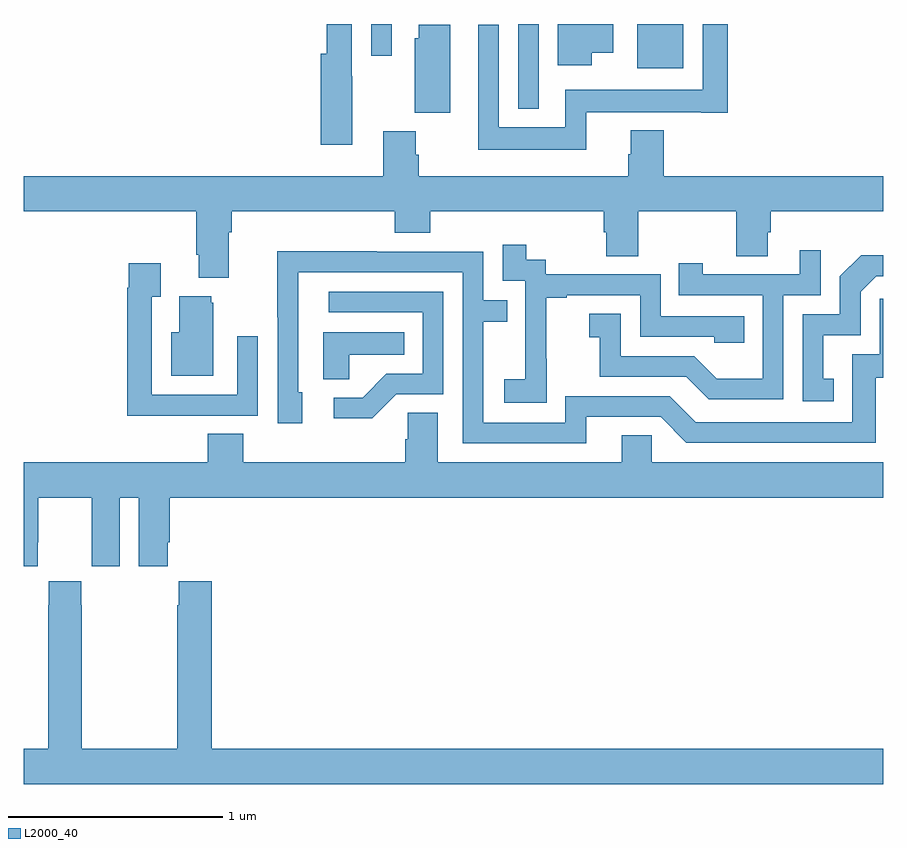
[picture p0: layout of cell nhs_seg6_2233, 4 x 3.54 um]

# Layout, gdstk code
import gdstk
lib = gdstk.Library(unit=1e-6, precision=1e-09)
def R(c, l, rs):  # rectangles x0, y0, x1, y1
    for r in rs: c.add(gdstk.rectangle(r[:2], r[2:], *l))
def P(c, l, *ps):  # polygons
    for p in ps: c.add(gdstk.Polygon(p, *l))
L2000_40 = (2000, 40)

nhs_seg6_2233 = lib.new_cell('nhs_seg6_2233')
R(nhs_seg6_2233, L2000_40, [(245.301,989.105,245.397,989.5), (245.855,989.294,246.07,989.5), (244.617,989.352,244.713,989.5)])
P(nhs_seg6_2233, L2000_40, [(245.618,989.09),(246.152,989.09),(246.152,989.088),(246.275,989.088),(246.275,989.5),(246.159,989.5),(246.159,989.194),(245.52,989.194),(245.52,989.02),(245.211,989.02),(245.211,989.497),(245.114,989.497),(245.114,988.916),(245.618,988.916)],
  [(244.528,989.258),(244.527,989.258),(244.527,989.5),(244.411,989.5),(244.411,989.362),(244.382,989.362),(244.382,988.938),(244.528,988.938)],
  [(245.644,989.366),(245.743,989.366),(245.743,989.5),(245.486,989.5),(245.486,989.307),(245.644,989.307)],
  [(244.984,989.497),(244.838,989.497),(244.838,989.433),(244.82,989.433),(244.82,989.086),(244.984,989.086)],
  [(244.838,988.892),(244.825,988.892),(244.825,989.001),(244.673,989.001),(244.673,988.792),(243,988.792),(243,988.628),(243.803,988.628),(243.803,988.426),(243.815,988.426),(243.815,988.319),(243.955,988.319),(243.955,988.532),(243.968,988.532),(243.968,988.628),(244.727,988.628),(244.727,988.529),(244.892,988.529),(244.892,988.628),(245.699,988.628),(245.699,988.53),(245.711,988.53),(245.711,988.42),(245.859,988.42),(245.859,988.628),(246.316,988.628),(246.316,988.42),(246.463,988.42),(246.463,988.53),(246.476,988.53),(246.476,988.628),(247,988.628),(247,988.792),(245.978,988.792),(245.978,989.005),(245.825,989.005),(245.825,988.893),(245.813,988.893),(245.813,988.792),(244.838,988.792)],
  [(245.433,987.943),(245.432,987.943),(245.432,988.227),(245.527,988.227),(245.527,988.239),(245.868,988.239),(245.868,988.044),(246.213,988.044),(246.213,988.017),(246.353,988.017),(246.353,988.14),(245.964,988.14),(245.964,988.335),(245.43,988.335),(245.43,988.404),(245.338,988.404),(245.338,988.474),(245.229,988.474),(245.229,988.305),(245.334,988.305),(245.334,988.076),(245.333,988.076),(245.333,987.847),(245.235,987.847),(245.235,987.737),(245.433,987.737)],
  [(246.534,988.239),(246.708,988.239),(246.708,988.447),(246.611,988.447),(246.611,988.335),(246.16,988.335),(246.16,988.387),(246.049,988.387),(246.049,988.239),(246.438,988.239),(246.438,987.85),(246.224,987.85),(246.12,987.954),(245.778,987.954),(245.778,988.153),(245.631,988.153),(245.631,988.043),(245.68,988.043),(245.68,987.858),(246.083,987.858),(246.188,987.753),(246.534,987.753)],
  [(245.617,987.672),(245.964,987.672),(246.084,987.552),(246.964,987.552),(246.964,987.855),(247,987.855),(247,988.222),(246.984,988.222),(246.984,987.963),(246.855,987.963),(246.855,987.648),(246.126,987.648),(246.006,987.768),(245.52,987.768),(245.52,987.645),(245.139,987.645),(245.139,988.114),(245.249,988.114),(245.249,988.215),(245.139,988.215),(245.139,988.44),(244.643,988.44),(244.643,988.442),(244.18,988.442),(244.18,988.135),(244.182,988.135),(244.182,987.642),(244.297,987.642),(244.297,987.786),(244.278,987.786),(244.278,988.344),(245.043,988.344),(245.043,987.549),(245.617,987.549)],
  [(246.77,987.849),(246.721,987.849),(246.721,988.053),(246.894,988.053),(246.894,988.254),(246.966,988.326),(247,988.326),(247,988.424),(246.896,988.424),(246.798,988.326),(246.798,988.149),(246.624,988.149),(246.624,987.744),(246.77,987.744)],
  [(243.773,987.678),(244.089,987.678),(244.089,988.048),(243.993,988.048),(243.993,987.774),(243.597,987.774),(243.597,988.231),(243.637,988.231),(243.637,988.387),(243.489,988.387),(243.489,988.274),(243.481,988.274),(243.481,987.677),(243.773,987.677)],
  [(244.734,987.777),(244.953,987.777),(244.953,988.254),(244.419,988.254),(244.419,988.158),(244.857,988.158),(244.857,987.873),(244.688,987.873),(244.577,987.762),(244.443,987.762),(244.443,987.665),(244.621,987.665)],
  [(243.883,988.203),(243.872,988.203),(243.872,988.234),(243.725,988.234),(243.725,988.066),(243.686,988.066),(243.686,987.863),(243.883,987.863)],
  [(244.515,987.962),(244.772,987.962),(244.772,988.066),(244.394,988.066),(244.394,987.847),(244.515,987.847)],
  [(247,987.46),(245.922,987.46),(245.922,987.587),(245.783,987.587),(245.783,987.46),(244.927,987.46),(244.927,987.692),(244.788,987.692),(244.788,987.569),(244.775,987.569),(244.775,987.46),(244.022,987.46),(244.022,987.593),(243.857,987.593),(243.857,987.46),(243,987.46),(243,986.976),(243.066,986.976),(243.066,987.088),(243.067,987.088),(243.067,987.296),(243.317,987.296),(243.317,987.088),(243.318,987.088),(243.318,986.976),(243.448,986.976),(243.448,987.296),(243.536,987.296),(243.536,986.976),(243.67,986.976),(243.67,987.088),(243.68,987.088),(243.68,987.296),(247,987.296)],
  [(247,986.128),(243.875,986.128),(243.875,986.908),(243.721,986.908),(243.721,986.795),(243.715,986.795),(243.715,986.128),(243.27,986.128),(243.27,986.795),(243.267,986.795),(243.267,986.908),(243.117,986.908),(243.117,986.795),(243.115,986.795),(243.115,986.128),(243,986.128),(243,985.964),(247,985.964)])

lib.write_gds('nhs_seg6_2233.gds')
